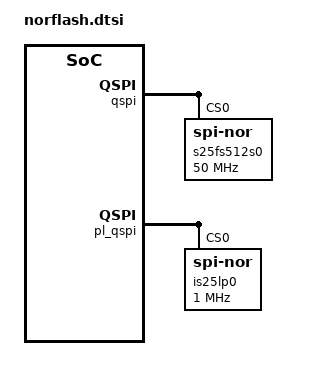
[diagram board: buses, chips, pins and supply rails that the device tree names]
&qspi {
	status = "okay";

	s25fs512s0: flash@0 {
		#address-cells = <1>;
		#size-cells = <1>;
		compatible = "jedec,spi-nor";
		spi-max-frequency = <50000000>;
		reg = <0>;
	};
};

&pl_qspi {
	status = "okay";

	is25lp0: flash@0 {
		#address-cells = <1>;
		#size-cells = <1>;
		compatible = "jedec,spi-nor";
		spi-max-frequency = <1000000>;
		reg = <0>;
	};
};
